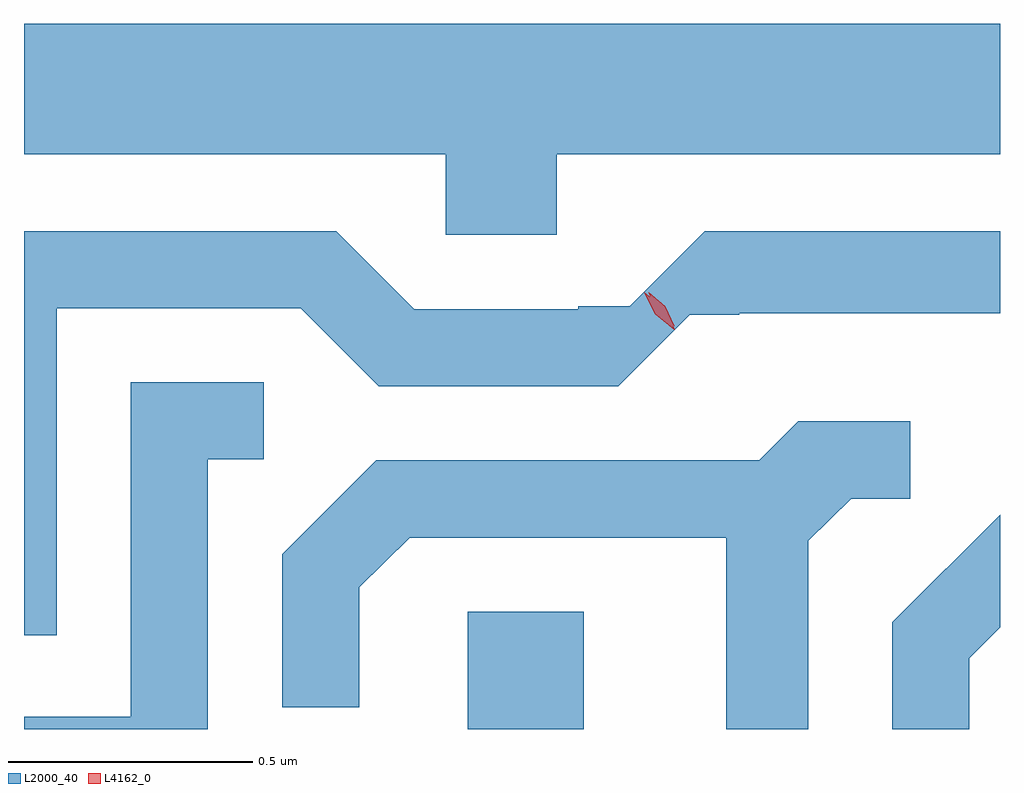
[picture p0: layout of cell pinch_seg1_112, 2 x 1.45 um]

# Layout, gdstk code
import gdstk
lib = gdstk.Library(unit=1e-6, precision=1e-09)
def R(c, l, rs):  # rectangles x0, y0, x1, y1
    for r in rs: c.add(gdstk.rectangle(r[:2], r[2:], *l))
def P(c, l, *ps):  # polygons
    for p in ps: c.add(gdstk.Polygon(p, *l))
L2000_40 = (2000, 40)
L4162_0 = (4162, 0)

pinch_seg1_112 = lib.new_cell('pinch_seg1_112')
R(pinch_seg1_112, L2000_40, [(224.011,900.618,224.249,900.859)])
P(pinch_seg1_112, L2000_40, [(224.194,901.796),(225.102,901.796),(225.102,902.064),(223.102,902.064),(223.102,901.796),(223.966,901.796),(223.966,901.631),(224.194,901.631)],
  [(223.169,901.481),(223.669,901.481),(223.829,901.321),(224.32,901.321),(224.466,901.468),(224.568,901.468),(224.568,901.471),(225.102,901.471),(225.102,901.639),(224.497,901.639),(224.343,901.485),(224.238,901.485),(224.238,901.479),(223.902,901.479),(223.742,901.639),(223.102,901.639),(223.102,900.811),(223.169,900.811)],
  [(223.479,901.171),(223.593,901.171),(223.593,901.329),(223.321,901.329),(223.321,900.644),(223.102,900.644),(223.102,900.618),(223.479,900.618)],
  [(224.709,901.004),(224.797,901.091),(224.918,901.091),(224.918,901.249),(224.689,901.249),(224.609,901.169),(223.824,901.169),(223.631,900.977),(223.631,900.663),(223.789,900.663),(223.789,900.909),(223.892,901.011),(224.541,901.011),(224.541,900.618),(224.709,900.618)],
  [(225.039,900.764),(225.102,900.827),(225.102,901.058),(224.881,900.837),(224.881,900.618),(225.039,900.618)])
P(pinch_seg1_112, L4162_0, [(224.434,901.437),(224.396,901.469),(224.373,901.513),(224.373,901.514),(224.373,901.514),(224.412,901.482),(224.435,901.438),(224.435,901.437)],
  [(224.434,901.444),(224.4,901.473),(224.382,901.513),(224.382,901.514),(224.382,901.514),(224.416,901.485),(224.434,901.445),(224.434,901.444)])

lib.write_gds('pinch_seg1_112.gds')
